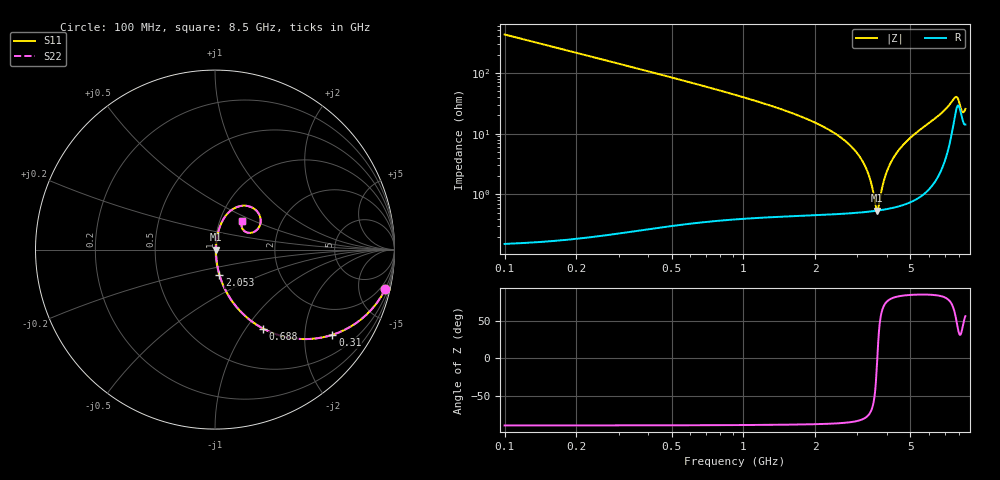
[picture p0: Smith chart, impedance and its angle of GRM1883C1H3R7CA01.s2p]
!Murata Part Number: GRM1883C1H3R7CA01
!These Parameters are Measured in Series Mode Connection
!Data Generated on Mar 30, 2021
!  o--ll--o
!Port1  Port2
!  o------o
!Operation Temp=25[degC], DC Bias Voltage=0[V]
!Freq. Start=100[MHz] Stop=9[GHz] 401[Steps]
# Hz S RI R 50
!Freq.(Hz) S11(Real) S11(Imag) S21(Real) S21(Imag) S12(Real) S12(Imag) S22(Real) S22(Imag)
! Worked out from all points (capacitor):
!   401 points, 100 MHz to 8.5 GHz, reference 50 ohm
!   read as one part in series: C = 3.7 pF near 142 MHz
!   lowest |Z| = 542 mohm at 3.628 GHz (marker M1)
!   series resonance near 3.635 GHz, so ESL is about 520 pH
!   S11 on the Smith chart (normalised r, x): 100 MHz: 1.00, -8.60; 310 MHz: 1.00, -2.75; 688 MHz: 1.01, -1.20; 2.053 GHz: 1.01, -0.29; 8.5 GHz: 1.28, +0.43
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1e8  0.9486 -0.2207  0.0514 0.2207  0.0514 0.2207  0.9486 -0.2207
2.05e8  0.8136 -0.389  0.1864 0.389  0.1864 0.389  0.8136 -0.389
3.1e8  0.6543 -0.4748  0.3457 0.4748  0.3457 0.4748  0.6543 -0.4748
4.99e8  0.4168 -0.4913  0.5832 0.4913  0.5832 0.4913  0.4168 -0.4913
6.88e8  0.2674 -0.4397  0.7326 0.4397  0.7326 0.4397  0.2674 -0.4397
1.024e9  0.1328 -0.3342  0.8672 0.3342  0.8672 0.3342  0.1328 -0.3342
1.507e9  0.057 -0.2228  0.943 0.2228  0.943 0.2228  0.057 -0.2228
2.053e9  0.0246 -0.14  0.9754 0.14  0.9754 0.14  0.0246 -0.14
2.914e9  0.00779 -0.0534  0.9922 0.0534  0.9922 0.0534  0.00779 -0.0534
3.313e9  0.00566 -0.0225  0.9943 0.0225  0.9943 0.0225  0.00566 -0.0225
3.628e9  0.00537 -0.000476  0.9946 0.000476  0.9946 0.000476  0.00537 -0.000476
3.67e9  0.00541 0.00234  0.9946 -0.00234  0.9946 -0.00234  0.00541 0.00234
3.817e9  0.00568 0.012  0.9943 -0.012  0.9943 -0.012  0.00568 0.012
3.943e9  0.00606 0.0201  0.9939 -0.0201  0.9939 -0.0201  0.00606 0.0201
4.3e9  0.00786 0.0422  0.9921 -0.0422  0.9921 -0.0422  0.00786 0.0422
4.867e9  0.0129 0.0758  0.9871 -0.0758  0.9871 -0.0758  0.0129 0.0758
5.707e9  0.0262 0.1255  0.9738 -0.1255  0.9738 -0.1255  0.0262 0.1255
7.114e9  0.1009 0.2266  0.8991 -0.2266  0.8991 -0.2266  0.1009 0.2266
7.723e9  0.2364 0.2106  0.7636 -0.2106  0.7636 -0.2106  0.2364 0.2106
8.017e9  0.2283 0.1053  0.7717 -0.1053  0.7717 -0.1053  0.2283 0.1053
8.227e9  0.1668 0.1011  0.8332 -0.1011  0.8332 -0.1011  0.1668 0.1011
8.5e9  0.1532 0.1584  0.8468 -0.1584  0.8468 -0.1584  0.1532 0.1584
